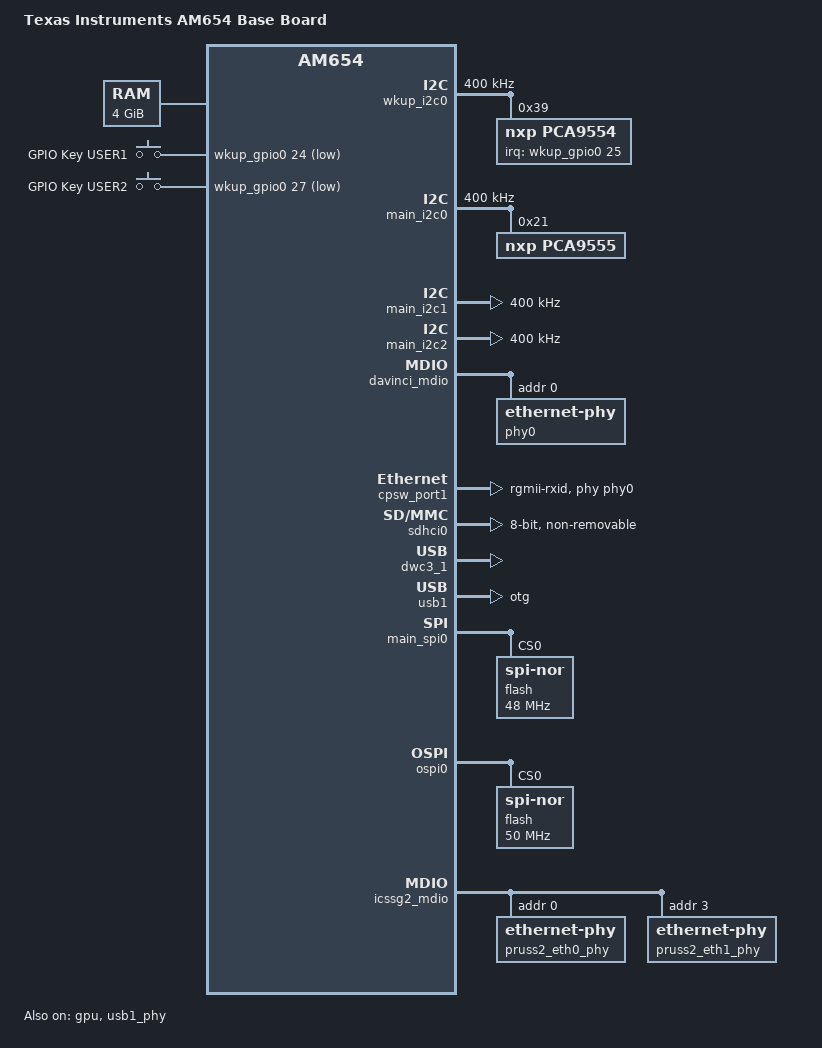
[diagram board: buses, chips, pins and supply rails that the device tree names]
// SPDX-License-Identifier: GPL-2.0
/*
 * Copyright (C) 2016-2018 Texas Instruments Incorporated - http://www.ti.com/
 */

/dts-v1/;

#include "k3-am654.dtsi"
#include <dt-bindings/input/input.h>
#include <dt-bindings/net/ti-dp83867.h>

/ {
	compatible =  "ti,am654-evm", "ti,am654";
	model = "Texas Instruments AM654 Base Board";

	aliases {
		ethernet1 = &pruss2_emac0;
		ethernet2 = &pruss2_emac1;
	};

	chosen {
		stdout-path = "serial2:115200n8";
		bootargs = "earlycon=ns16550a,mmio32,0x02800000";
	};

	memory@80000000 {
		device_type = "memory";
		/* 4G RAM */
		reg = <0x00000000 0x80000000 0x00000000 0x80000000>,
		      <0x00000008 0x80000000 0x00000000 0x80000000>;
	};

	reserved_memory: reserved-memory {
		#address-cells = <2>;
		#size-cells = <2>;
		ranges;

		secure_ddr: secure_ddr@9e800000 {
			reg = <0 0x9e800000 0 0x01800000>; /* for OP-TEE */
			alignment = <0x1000>;
			no-map;
		};

		mcu_r5fss0_core0_dma_memory_region: r5f-dma-memory@a0000000 {
			compatible = "shared-dma-pool";
			reg = <0 0xa0000000 0 0x100000>;
			no-map;
		};

		mcu_r5fss0_core0_memory_region: r5f-memory@a0100000 {
			compatible = "shared-dma-pool";
			reg = <0 0xa0100000 0 0xf00000>;
			no-map;
		};

		mcu_r5fss0_core1_dma_memory_region: r5f-dma-memory@a1000000 {
			compatible = "shared-dma-pool";
			reg = <0 0xa1000000 0 0x100000>;
			no-map;
		};

		mcu_r5fss0_core1_memory_region: r5f-memory@a1100000 {
			compatible = "shared-dma-pool";
			reg = <0 0xa1100000 0 0xf00000>;
			no-map;
		};

		rtos_ipc_memory_region: ipc-memories@a2000000 {
			reg = <0x00 0xa2000000 0x00 0x00200000>;
			alignment = <0x1000>;
			no-map;
		};
	};

	gpio-keys {
		compatible = "gpio-keys";
		autorepeat;
		pinctrl-names = "default";
		pinctrl-0 = <&push_button_pins_default>;

		sw5 {
			label = "GPIO Key USER1";
			linux,code = <BTN_0>;
			gpios = <&wkup_gpio0 24 GPIO_ACTIVE_LOW>;
		};

		sw6 {
			label = "GPIO Key USER2";
			linux,code = <BTN_1>;
			gpios = <&wkup_gpio0 27 GPIO_ACTIVE_LOW>;
		};
	};

	/* Dual Ethernet application node on PRU-ICSSG2 */
	pruss2_eth {
		compatible = "ti,am654-icssg-prueth";
		pinctrl-names = "default";
		pinctrl-0 = <&icssg2_rgmii_pins_default>;
		sram = <&msmc_ram>;
		interrupt-parent = <&main_udmass_inta>;

		prus = <&pru2_0>, <&rtu2_0>, <&pru2_1>, <&rtu2_1>;
		firmware-name = "ti-pruss/am65x-pru0-prueth-fw.elf",
				"ti-pruss/am65x-rtu0-prueth-fw.elf",
				"ti-pruss/am65x-pru1-prueth-fw.elf",
				"ti-pruss/am65x-rtu1-prueth-fw.elf";
		mii-g-rt = <&icssg2_mii_g_rt>;
		mii-rt = <&icssg2_mii_rt>;
		dma-coherent;
		dmas = <&main_udmap &icssg2 0 UDMA_DIR_TX>, /* egress slice 0 */
		       <&main_udmap &icssg2 1 UDMA_DIR_TX>, /* egress slice 0 */
		       <&main_udmap &icssg2 2 UDMA_DIR_TX>, /* egress slice 0 */
		       <&main_udmap &icssg2 3 UDMA_DIR_TX>, /* egress slice 0 */
		       <&main_udmap &icssg2 4 UDMA_DIR_TX>, /* egress slice 1 */
		       <&main_udmap &icssg2 5 UDMA_DIR_TX>, /* egress slice 1 */
		       <&main_udmap &icssg2 6 UDMA_DIR_TX>, /* egress slice 1 */
		       <&main_udmap &icssg2 7 UDMA_DIR_TX>, /* egress slice 1 */

		       <&main_udmap &icssg2 0 UDMA_DIR_RX>, /* ingress slice 0 */
		       <&main_udmap &icssg2 1 UDMA_DIR_RX>, /* ingress slice 1 */
		       <&main_udmap &icssg2 2 UDMA_DIR_RX>, /* mgmnt rsp slice 0 */
		       <&main_udmap &icssg2 3 UDMA_DIR_RX>; /* mgmnt rsp slice 1 */
		dma-names = "tx0-0", "tx0-1", "tx0-2", "tx0-3",
			    "tx1-0", "tx1-1", "tx1-2", "tx1-3",
			    "rx0", "rx1",
			    "rxmgm0", "rxmgm1";

		pruss2_emac0: ethernet-mii0 {
			phy-handle = <&pruss2_eth0_phy>;
			phy-mode = "rgmii-rxid";
			syscon-rgmii-delay = <&scm_conf 0x4120>;
			iep = <&icssg2_iep0>;
			/* Filled in by bootloader */
			local-mac-address = [00 00 00 00 00 00];
		};

		pruss2_emac1: ethernet-mii1 {
			phy-handle = <&pruss2_eth1_phy>;
			phy-mode = "rgmii-rxid";
			syscon-rgmii-delay = <&scm_conf 0x4124>;
			iep = <&icssg2_iep1>;
			/* Filled in by bootloader */
			local-mac-address = [00 00 00 00 00 00];
		};
	};
};

&wkup_pmx0 {
	wkup_i2c0_pins_default: wkup-i2c0-pins-default {
		pinctrl-single,pins = <
			AM65X_WKUP_IOPAD(0x00e0, PIN_INPUT, 0) /* (AC7) WKUP_I2C0_SCL */
			AM65X_WKUP_IOPAD(0x00e4, PIN_INPUT, 0) /* (AD6) WKUP_I2C0_SDA */
		>;
	};

	push_button_pins_default: push_button__pins_default {
		pinctrl-single,pins = <
			AM65X_WKUP_IOPAD(0x0030, PIN_INPUT, 7) /* (R5) WKUP_GPIO0_24 */
			AM65X_WKUP_IOPAD(0x003c, PIN_INPUT, 7) /* (P2) WKUP_GPIO0_27 */
		>;
	};

	mcu_cpsw_pins_default: mcu_cpsw_pins_default {
		pinctrl-single,pins = <
			AM65X_WKUP_IOPAD(0x0058, PIN_OUTPUT, 0) /* (N4) MCU_RGMII1_TX_CTL */
			AM65X_WKUP_IOPAD(0x005c, PIN_INPUT, 0) /* (N5) MCU_RGMII1_RX_CTL */
			AM65X_WKUP_IOPAD(0x0060, PIN_OUTPUT, 0) /* (M2) MCU_RGMII1_TD3 */
			AM65X_WKUP_IOPAD(0x0064, PIN_OUTPUT, 0) /* (M3) MCU_RGMII1_TD2 */
			AM65X_WKUP_IOPAD(0x0068, PIN_OUTPUT, 0) /* (M4) MCU_RGMII1_TD1 */
			AM65X_WKUP_IOPAD(0x006c, PIN_OUTPUT, 0) /* (M5) MCU_RGMII1_TD0 */
			AM65X_WKUP_IOPAD(0x0078, PIN_INPUT, 0) /* (L2) MCU_RGMII1_RD3 */
			AM65X_WKUP_IOPAD(0x007c, PIN_INPUT, 0) /* (L5) MCU_RGMII1_RD2 */
			AM65X_WKUP_IOPAD(0x0080, PIN_INPUT, 0) /* (M6) MCU_RGMII1_RD1 */
			AM65X_WKUP_IOPAD(0x0084, PIN_INPUT, 0) /* (L6) MCU_RGMII1_RD0 */
			AM65X_WKUP_IOPAD(0x0070, PIN_INPUT, 0) /* (N1) MCU_RGMII1_TXC */
			AM65X_WKUP_IOPAD(0x0074, PIN_INPUT, 0) /* (M1) MCU_RGMII1_RXC */
		>;
	};

	mcu_mdio_pins_default: mcu_mdio1_pins_default {
		pinctrl-single,pins = <
			AM65X_WKUP_IOPAD(0x008c, PIN_OUTPUT, 0) /* (L1) MCU_MDIO0_MDC */
			AM65X_WKUP_IOPAD(0x0088, PIN_INPUT, 0) /* (L4) MCU_MDIO0_MDIO */
		>;
	};

	wkup_pca554_default: wkup_pca554_default {
		pinctrl-single,pins = <
			AM65X_WKUP_IOPAD(0x0034, PIN_INPUT, 7) /* (T1) MCU_OSPI1_CLK.WKUP_GPIO0_25 */

		>;
	};

	mcu_fss0_ospi0_pins_default: mcu-fss0-ospi0-pins_default {
		pinctrl-single,pins = <
			AM65X_WKUP_IOPAD(0x0000, PIN_OUTPUT, 0) /* (V1) MCU_OSPI0_CLK */
			AM65X_WKUP_IOPAD(0x0008, PIN_INPUT, 0)	 /* (U2) MCU_OSPI0_DQS */
			AM65X_WKUP_IOPAD(0x000c, PIN_INPUT, 0)  /* (U4) MCU_OSPI0_D0 */
			AM65X_WKUP_IOPAD(0x0010, PIN_INPUT, 0)  /* (U5) MCU_OSPI0_D1 */
			AM65X_WKUP_IOPAD(0x0014, PIN_INPUT, 0)  /* (T2) MCU_OSPI0_D2 */
			AM65X_WKUP_IOPAD(0x0018, PIN_INPUT, 0)  /* (T3) MCU_OSPI0_D3 */
			AM65X_WKUP_IOPAD(0x001c, PIN_INPUT, 0)  /* (T4) MCU_OSPI0_D4 */
			AM65X_WKUP_IOPAD(0x0020, PIN_INPUT, 0)  /* (T5) MCU_OSPI0_D5 */
			AM65X_WKUP_IOPAD(0x0024, PIN_INPUT, 0)  /* (R2) MCU_OSPI0_D6 */
			AM65X_WKUP_IOPAD(0x0028, PIN_INPUT, 0)  /* (R3) MCU_OSPI0_D7 */
			AM65X_WKUP_IOPAD(0x002c, PIN_OUTPUT, 0) /* (R4) MCU_OSPI0_CSn0 */
		>;
	};
};

&main_pmx0 {
	main_uart0_pins_default: main-uart0-pins-default {
		pinctrl-single,pins = <
			AM65X_IOPAD(0x01e4, PIN_INPUT, 0)	/* (AF11) UART0_RXD */
			AM65X_IOPAD(0x01e8, PIN_OUTPUT, 0)	/* (AE11) UART0_TXD */
			AM65X_IOPAD(0x01ec, PIN_INPUT, 0)	/* (AG11) UART0_CTSn */
			AM65X_IOPAD(0x01f0, PIN_OUTPUT, 0)	/* (AD11) UART0_RTSn */
		>;
	};

	main_i2c2_pins_default: main-i2c2-pins-default {
		pinctrl-single,pins = <
			AM65X_IOPAD(0x0074, PIN_INPUT, 5) /* (T27) GPMC0_CSn3.I2C2_SCL */
			AM65X_IOPAD(0x0070, PIN_INPUT, 5) /* (R25) GPMC0_CSn2.I2C2_SDA */
		>;
	};

	main_mmc0_pins_default: main-mmc0-pins-default {
		pinctrl-single,pins = <
			AM65X_IOPAD(0x01a8, PIN_INPUT_PULLDOWN, 0) /* (B25) MMC0_CLK */
			AM65X_IOPAD(0x01ac, PIN_INPUT_PULLUP, 0) /* (B27) MMC0_CMD */
			AM65X_IOPAD(0x01a4, PIN_INPUT_PULLUP, 0) /* (A26) MMC0_DAT0 */
			AM65X_IOPAD(0x01a0, PIN_INPUT_PULLUP, 0) /* (E25) MMC0_DAT1 */
			AM65X_IOPAD(0x019c, PIN_INPUT_PULLUP, 0) /* (C26) MMC0_DAT2 */
			AM65X_IOPAD(0x0198, PIN_INPUT_PULLUP, 0) /* (A25) MMC0_DAT3 */
			AM65X_IOPAD(0x0194, PIN_INPUT_PULLUP, 0) /* (E24) MMC0_DAT4 */
			AM65X_IOPAD(0x0190, PIN_INPUT_PULLUP, 0) /* (A24) MMC0_DAT5 */
			AM65X_IOPAD(0x018c, PIN_INPUT_PULLUP, 0) /* (B26) MMC0_DAT6 */
			AM65X_IOPAD(0x0188, PIN_INPUT_PULLUP, 0) /* (D25) MMC0_DAT7 */
			AM65X_IOPAD(0x01b4, PIN_INPUT_PULLUP, 0) /* (A23) MMC0_SDCD */
			AM65X_IOPAD(0x01b0, PIN_INPUT, 0) /* (C25) MMC0_DS */
		>;
	};

	main_mmc1_pins_default: main_mmc1_pins_default {
		pinctrl-single,pins = <
			AM65X_IOPAD(0x02d4, PIN_INPUT_PULLDOWN, 0) /* (C27) MMC1_CLK */
			AM65X_IOPAD(0x02d8, PIN_INPUT_PULLUP, 0) /* (C28) MMC1_CMD */
			AM65X_IOPAD(0x02d0, PIN_INPUT_PULLUP, 0) /* (D28) MMC1_DAT0 */
			AM65X_IOPAD(0x02cc, PIN_INPUT_PULLUP, 0) /* (E27) MMC1_DAT1 */
			AM65X_IOPAD(0x02c8, PIN_INPUT_PULLUP, 0) /* (D26) MMC1_DAT2 */
			AM65X_IOPAD(0x02c4, PIN_INPUT_PULLUP, 0) /* (D27) MMC1_DAT3 */
			AM65X_IOPAD(0x02dc, PIN_INPUT_PULLUP, 0) /* (B24) MMC1_SDCD */
			AM65X_IOPAD(0x02e0, PIN_INPUT, 0) /* (C24) MMC1_SDWP */
		>;
	};

	usb1_pins_default: usb1_pins_default {
		pinctrl-single,pins = <
			AM65X_IOPAD(0x02c0, PIN_OUTPUT, 0) /* (AC8) USB1_DRVVBUS */
		>;
	};

	main_spi0_pins_default: main-spi0-pins-default {
		pinctrl-single,pins = <
			AM65X_IOPAD(0x01c4, PIN_INPUT, 0) /* (AH13) SPI0_CLK */
			AM65X_IOPAD(0x01c8, PIN_INPUT, 0) /* (AE13) SPI0_D0 */
			AM65X_IOPAD(0x01cc, PIN_INPUT, 0) /* (AD13) SPI0_D1 */
			AM65X_IOPAD(0x01bc, PIN_OUTPUT, 0) /* (AG13) SPI0_CS0 */
		>;
	};

	icssg2_mdio_pins_default: icssg2_mdio_pins_default {
		pinctrl-single,pins = <
			AM65X_IOPAD(0x0094, PIN_INPUT, 2) /* (AC19) PRG2_PRU0_GPO7.PRG2_MDIO0_MDIO */
			AM65X_IOPAD(0x00c8, PIN_OUTPUT, 2) /* (AE15) PRG2_PRU1_GPO7.PRG2_MDIO0_MDC */
		>;
	};

	icssg2_rgmii_pins_default: icssg2_rgmii_pins_default {
		pinctrl-single,pins = <
			AM65X_IOPAD(0x00ac, PIN_INPUT, 2) /* (AH15) PRG2_PRU1_GPO0.PRG2_RGMII2_RD0 */
			AM65X_IOPAD(0x00b0, PIN_INPUT, 2) /* (AC16) PRG2_PRU1_GPO1.PRG2_RGMII2_RD1 */
			AM65X_IOPAD(0x00b4, PIN_INPUT, 2) /* (AD17) PRG2_PRU1_GPO2.PRG2_RGMII2_RD2 */
			AM65X_IOPAD(0x00b8, PIN_INPUT, 2) /* (AH14) PRG2_PRU1_GPO3.PRG2_RGMII2_RD3 */
			AM65X_IOPAD(0x00cc, PIN_OUTPUT, 2) /* (AD15) PRG2_PRU1_GPO8.PRG2_RGMII2_TD0 */
			AM65X_IOPAD(0x00d0, PIN_OUTPUT, 2) /* (AF14) PRG2_PRU1_GPO9.PRG2_RGMII2_TD1 */
			AM65X_IOPAD(0x00d4, PIN_OUTPUT, 2) /* (AC15) PRG2_PRU1_GPO10.PRG2_RGMII2_TD2 */
			AM65X_IOPAD(0x00d8, PIN_OUTPUT, 2) /* (AD14) PRG2_PRU1_GPO11.PRG2_RGMII2_TD3 */
			AM65X_IOPAD(0x00dc, PIN_INPUT, 2) /* (AE14) PRG2_PRU1_GPO16.PRG2_RGMII2_TXC */
			AM65X_IOPAD(0x00c4, PIN_OUTPUT, 2) /* (AC17) PRG2_PRU1_GPO6.PRG2_RGMII2_TX_CTL */
			AM65X_IOPAD(0x00c0, PIN_INPUT, 2) /* (AG15) PRG2_PRU1_GPO5.PRG2_RGMII2_RXC */
			AM65X_IOPAD(0x00bc, PIN_INPUT, 2) /* (AG14) PRG2_PRU1_GPO4.PRG2_RGMII2_RX_CTL */

			AM65X_IOPAD(0x0078, PIN_INPUT, 2) /* (AF18) PRG2_PRU0_GPO0.PRG2_RGMII1_RD0 */
			AM65X_IOPAD(0x007c, PIN_INPUT, 2) /* (AE18) PRG2_PRU0_GPO1.PRG2_RGMII1_RD1 */
			AM65X_IOPAD(0x0080, PIN_INPUT, 2) /* (AH17) PRG2_PRU0_GPO2.PRG2_RGMII1_RD2 */
			AM65X_IOPAD(0x0084, PIN_INPUT, 2) /* (AG18) PRG2_PRU0_GPO3.PRG2_RGMII1_RD3 */
			AM65X_IOPAD(0x0098, PIN_OUTPUT, 2) /* (AH16) PRG2_PRU0_GPO8.PRG2_RGMII1_TD0 */
			AM65X_IOPAD(0x009c, PIN_OUTPUT, 2) /* (AG16) PRG2_PRU0_GPO9.PRG2_RGMII1_TD1 */
			AM65X_IOPAD(0x00a0, PIN_OUTPUT, 2) /* (AF16) PRG2_PRU0_GPO10.PRG2_RGMII1_TD2 */
			AM65X_IOPAD(0x00a4, PIN_OUTPUT, 2) /* (AE16) PRG2_PRU0_GPO11.PRG2_RGMII1_TD3 */
			AM65X_IOPAD(0x00a8, PIN_INPUT, 2) /* (AD16) PRG2_PRU0_GPO16.PRG2_RGMII1_TXC */
			AM65X_IOPAD(0x0090, PIN_OUTPUT, 2) /* (AE17) PRG2_PRU0_GPO6.PRG2_RGMII1_TX_CTL */
			AM65X_IOPAD(0x008c, PIN_INPUT, 2) /* (AF17) PRG2_PRU0_GPO5.PRG2_RGMII1_RXC */
			AM65X_IOPAD(0x0088, PIN_INPUT, 2) /* (AG17) PRG2_PRU0_GPO4.PRG2_RGMII1_RX_CTL */
		>;
	};
};

&main_pmx1 {
	main_i2c0_pins_default: main-i2c0-pins-default {
		pinctrl-single,pins = <
			AM65X_IOPAD(0x0000, PIN_INPUT, 0) /* (D20) I2C0_SCL */
			AM65X_IOPAD(0x0004, PIN_INPUT, 0) /* (C21) I2C0_SDA */
		>;
	};

	main_i2c1_pins_default: main-i2c1-pins-default {
		pinctrl-single,pins = <
			AM65X_IOPAD(0x0008, PIN_INPUT, 0) /* (B21) I2C1_SCL */
			AM65X_IOPAD(0x000c, PIN_INPUT, 0) /* (E21) I2C1_SDA */
		>;
	};

	ecap0_pins_default: ecap0-pins-default {
		pinctrl-single,pins = <
			AM65X_IOPAD(0x0010, PIN_INPUT, 0) /* (D21) ECAP0_IN_APWM_OUT */
		>;
	};
};

&wkup_uart0 {
	/* Wakeup UART is used by System firmware */
	status = "disabled";
};

&main_uart0 {
	pinctrl-names = "default";
	pinctrl-0 = <&main_uart0_pins_default>;
};

&wkup_i2c0 {
	pinctrl-names = "default";
	pinctrl-0 = <&wkup_i2c0_pins_default>;
	clock-frequency = <400000>;

	pca9554: gpio@39 {
		compatible = "nxp,pca9554";
		reg = <0x39>;
		gpio-controller;
		#gpio-cells = <2>;
		pinctrl-names = "default";
		pinctrl-0 = <&wkup_pca554_default>;
		interrupt-parent = <&wkup_gpio0>;
		interrupts = <25 IRQ_TYPE_EDGE_FALLING>;
		interrupt-controller;
		#interrupt-cells = <2>;
	};
};

&main_i2c0 {
	pinctrl-names = "default";
	pinctrl-0 = <&main_i2c0_pins_default>;
	clock-frequency = <400000>;

	pca9555: gpio@21 {
		compatible = "nxp,pca9555";
		reg = <0x21>;
		gpio-controller;
		#gpio-cells = <2>;
	};
};

&main_i2c1 {
	pinctrl-names = "default";
	pinctrl-0 = <&main_i2c1_pins_default>;
	clock-frequency = <400000>;
};

&main_i2c2 {
	pinctrl-names = "default";
	pinctrl-0 = <&main_i2c2_pins_default>;
	clock-frequency = <400000>;
};

&mcu_cpsw {
	pinctrl-names = "default";
	pinctrl-0 = <&mcu_cpsw_pins_default &mcu_mdio_pins_default>;

	cpts {
		ti,pps = <3 1>;
	};
};

&davinci_mdio {
	phy0: ethernet-phy@0 {
		reg = <0>;
		/* TODO: phy reset: TCA9555RTWR(i2c:0x21)[p04].GPIO_MCU_RGMII_RSTN */
		ti,rx-internal-delay = <DP83867_RGMIIDCTL_2_00_NS>;
		ti,fifo-depth = <DP83867_PHYCR_FIFO_DEPTH_4_B_NIB>;
	};
};

&cpsw_port1 {
	phy-mode = "rgmii-rxid";
	phy-handle = <&phy0>;
};

&ecap0 {
	pinctrl-names = "default";
	pinctrl-0 = <&ecap0_pins_default>;
};

&sdhci0 {
	pinctrl-names = "default";
	pinctrl-0 = <&main_mmc0_pins_default>;
	bus-width = <8>;
	non-removable;
	ti,driver-strength-ohm = <50>;
	disable-wp;
};

&sdhci1 {
	pinctrl-names = "default";
	pinctrl-0 = <&main_mmc1_pins_default>;
	ti,driver-strength-ohm = <50>;
	disable-wp;
};

&gpu {
	status = "okay";
};

&dwc3_1 {
	status = "okay";
};

&usb1_phy {
	status = "okay";
};

&usb1 {
	pinctrl-names = "default";
	pinctrl-0 = <&usb1_pins_default>;
	dr_mode = "otg";
};

&dwc3_0 {
	status = "disabled";
};

&usb0_phy {
	status = "disabled";
};

&main_spi0 {
	pinctrl-names = "default";
	pinctrl-0 = <&main_spi0_pins_default>;
	#address-cells = <1>;
	#size-cells= <0>;
	ti,pindir-d0-out-d1-in = <1>;

	flash@0{
		compatible = "jedec,spi-nor";
		reg = <0x0>;
		spi-tx-bus-width = <1>;
		spi-rx-bus-width = <1>;
		spi-max-frequency = <48000000>;
		#address-cells = <1>;
		#size-cells= <1>;
	};
};

&tscadc0 {
	adc {
		ti,adc-channels = <0 1 2 3 4 5 6 7>;
	};
};

&tscadc1 {
	adc {
		ti,adc-channels = <0 1 2 3 4 5 6 7>;
	};
};

&mcu_r5fss0_core0 {
	memory-region = <&mcu_r5fss0_core0_dma_memory_region>,
			<&mcu_r5fss0_core0_memory_region>;
};

&mcu_r5fss0_core1 {
	memory-region = <&mcu_r5fss0_core1_dma_memory_region>,
			<&mcu_r5fss0_core1_memory_region>;
};

&ospi0 {
	pinctrl-names = "default";
	pinctrl-0 = <&mcu_fss0_ospi0_pins_default>;

	flash@0{
		compatible = "jedec,spi-nor";
		reg = <0x0>;
		spi-tx-bus-width = <8>;
		spi-rx-bus-width = <8>;
		spi-max-frequency = <50000000>;
		spi-dqs;
		cdns,tshsl-ns = <60>;
		cdns,tsd2d-ns = <60>;
		cdns,tchsh-ns = <60>;
		cdns,tslch-ns = <60>;
		cdns,read-delay = <2>;
		cdns,phy-mode;
		#address-cells = <1>;
		#size-cells = <1>;
	};
};

&icssg2_mdio {
	status = "okay";
	pinctrl-names = "default";
	pinctrl-0 = <&icssg2_mdio_pins_default>;

	pruss2_eth0_phy: ethernet-phy@0 {
		reg = <0>;
		ti,rx-internal-delay = <DP83867_RGMIIDCTL_2_00_NS>;
		ti,fifo-depth = <DP83867_PHYCR_FIFO_DEPTH_4_B_NIB>;
	};

	pruss2_eth1_phy: ethernet-phy@3 {
		reg = <3>;
		ti,rx-internal-delay = <DP83867_RGMIIDCTL_2_00_NS>;
		ti,fifo-depth = <DP83867_PHYCR_FIFO_DEPTH_4_B_NIB>;
	};
};

#define TS_OFFSET(pa, val)     (0x4+(pa)*4) (0x80000000 | val)

&timesync_router {
	pinctrl-names = "default";
	pinctrl-0 = <&mcu_cpts>;

	/* Example of the timesync routing */
	mcu_cpts: mcu_cpts {
		pinctrl-single,pins = <
			/* pps [cpts genf1] in13 -> out25 [cpts hw4_push] */
			TS_OFFSET(25, 13)
		>;
	};
};
